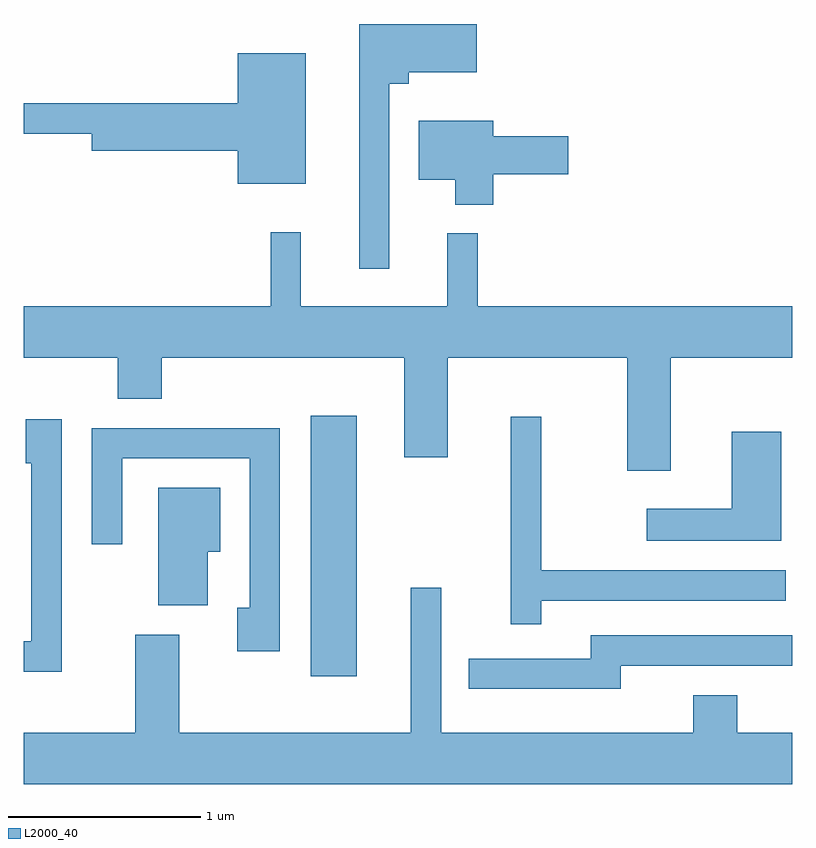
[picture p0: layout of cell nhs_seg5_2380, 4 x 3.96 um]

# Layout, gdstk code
import gdstk
lib = gdstk.Library(unit=1e-6, precision=1e-09)
def R(c, l, rs):  # rectangles x0, y0, x1, y1
    for r in rs: c.add(gdstk.rectangle(r[:2], r[2:], *l))
def P(c, l, *ps):  # polygons
    for p in ps: c.add(gdstk.Polygon(p, *l))
L2000_40 = (2000, 40)

nhs_seg5_2380 = lib.new_cell('nhs_seg5_2380')
R(nhs_seg5_2380, L2000_40, [(257.106,1470.676,257.344,1472.034)])
P(nhs_seg5_2380, L2000_40, [(257.514,1473.761),(257.614,1473.761),(257.614,1473.821),(257.969,1473.821),(257.969,1474.072),(257.356,1474.072),(257.356,1472.798),(257.514,1472.798)],
  [(257.079,1473.919),(256.726,1473.919),(256.726,1473.659),(255.611,1473.659),(255.611,1473.501),(255.966,1473.501),(255.966,1473.411),(256.726,1473.411),(256.726,1473.241),(257.079,1473.241)],
  [(258.054,1473.291),(258.444,1473.291),(258.444,1473.489),(258.054,1473.489),(258.054,1473.569),(257.666,1473.569),(257.666,1473.261),(257.856,1473.261),(257.856,1473.131),(258.054,1473.131)],
  [(258.979,1472.336),(259.611,1472.336),(259.611,1472.604),(257.974,1472.604),(257.974,1472.983),(257.816,1472.983),(257.816,1472.604),(257.054,1472.604),(257.054,1472.988),(256.896,1472.988),(256.896,1472.604),(255.611,1472.604),(255.611,1472.336),(256.101,1472.336),(256.101,1472.121),(256.329,1472.121),(256.329,1472.336),(257.591,1472.336),(257.591,1471.816),(257.819,1471.816),(257.819,1472.336),(258.751,1472.336),(258.751,1471.746),(258.979,1471.746)],
  [(258.304,1471.071),(259.578,1471.071),(259.578,1471.229),(258.304,1471.229),(258.304,1472.028),(258.146,1472.028),(258.146,1470.948),(258.304,1470.948)],
  [(255.809,1472.014),(255.621,1472.014),(255.621,1471.786),(255.651,1471.786),(255.651,1470.859),(255.611,1470.859),(255.611,1470.701),(255.809,1470.701)],
  [(256.944,1471.969),(255.966,1471.969),(255.966,1471.363),(256.124,1471.363),(256.124,1471.811),(256.786,1471.811),(256.786,1471.034),(256.721,1471.034),(256.721,1470.806),(256.944,1470.806)],
  [(259.554,1471.949),(259.296,1471.949),(259.296,1471.549),(258.853,1471.549),(258.853,1471.381),(259.554,1471.381)],
  [(256.569,1471.326),(256.634,1471.326),(256.634,1471.659),(256.311,1471.659),(256.311,1471.046),(256.569,1471.046)],
  [(259.611,1470.384),(259.324,1470.384),(259.324,1470.579),(259.096,1470.579),(259.096,1470.384),(257.784,1470.384),(257.784,1471.138),(257.626,1471.138),(257.626,1470.384),(256.419,1470.384),(256.419,1470.894),(256.191,1470.894),(256.191,1470.384),(255.611,1470.384),(255.611,1470.116),(259.611,1470.116)],
  [(258.719,1470.731),(259.611,1470.731),(259.611,1470.889),(258.561,1470.889),(258.561,1470.769),(257.928,1470.769),(257.928,1470.611),(258.719,1470.611)])

lib.write_gds('nhs_seg5_2380.gds')
